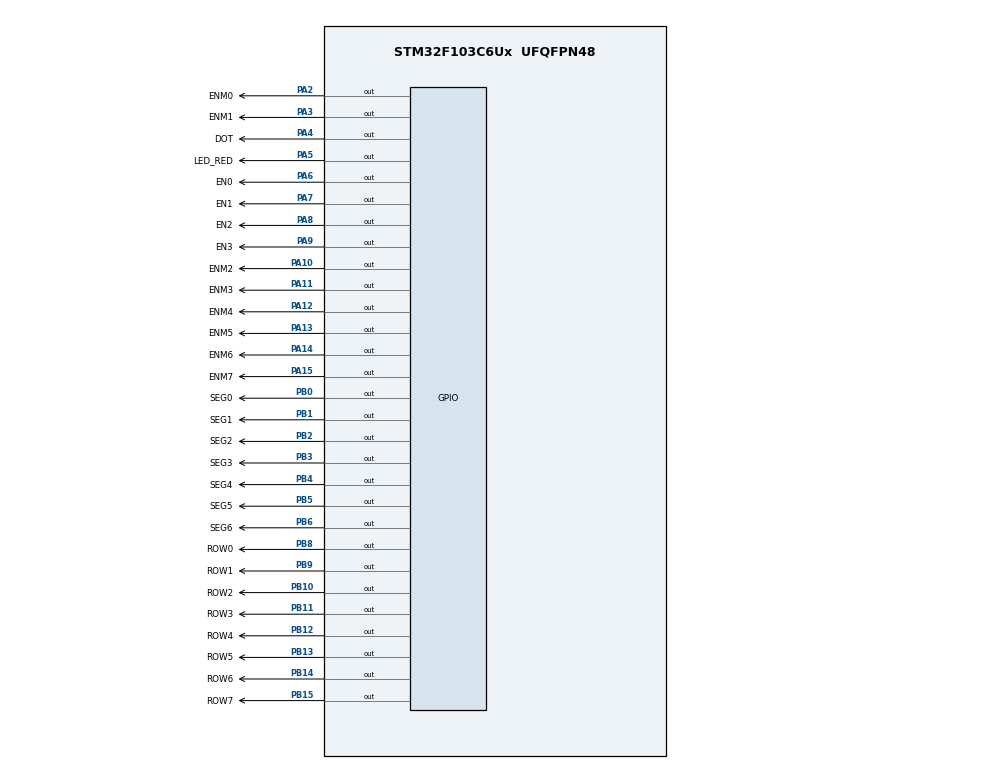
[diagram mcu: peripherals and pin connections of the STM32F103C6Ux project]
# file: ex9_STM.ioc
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Mcu.Family=STM32F1
Mcu.Name=STM32F103C6Ux
Mcu.Package=UFQFPN48
NVIC.PriorityGroup=NVIC_PRIORITYGROUP_4
NVIC.TIM2_IRQn=true\:0\:0\:false\:false\:true\:true\:true
PA10.GPIO_Label=ENM2
PA10.Signal=GPIO_Output
PA11.GPIO_Label=ENM3
PA11.Signal=GPIO_Output
PA12.GPIO_Label=ENM4
PA12.Signal=GPIO_Output
PA13.GPIO_Label=ENM5
PA13.Signal=GPIO_Output
PA14.GPIO_Label=ENM6
PA14.Signal=GPIO_Output
PA15.GPIO_Label=ENM7
PA15.Signal=GPIO_Output
PA2.GPIO_Label=ENM0
PA2.Signal=GPIO_Output
PA3.GPIO_Label=ENM1
PA3.Signal=GPIO_Output
PA4.GPIO_Label=DOT
PA4.Signal=GPIO_Output
PA5.GPIO_Label=LED_RED
PA5.Signal=GPIO_Output
PA6.GPIO_Label=EN0
PA6.Signal=GPIO_Output
PA7.GPIO_Label=EN1
PA7.Signal=GPIO_Output
PA8.GPIO_Label=EN2
PA8.Signal=GPIO_Output
PA9.GPIO_Label=EN3
PA9.Signal=GPIO_Output
PB0.GPIO_Label=SEG0
PB0.Signal=GPIO_Output
PB1.GPIO_Label=SEG1
PB1.Signal=GPIO_Output
PB10.GPIO_Label=ROW2
PB10.Signal=GPIO_Output
PB11.GPIO_Label=ROW3
PB11.Signal=GPIO_Output
PB12.GPIO_Label=ROW4
PB12.Signal=GPIO_Output
PB13.GPIO_Label=ROW5
PB13.Signal=GPIO_Output
PB14.GPIO_Label=ROW6
PB14.Signal=GPIO_Output
PB15.GPIO_Label=ROW7
PB15.Signal=GPIO_Output
PB2.GPIO_Label=SEG2
PB2.Signal=GPIO_Output
PB3.GPIO_Label=SEG3
PB3.Signal=GPIO_Output
PB4.GPIO_Label=SEG4
PB4.Signal=GPIO_Output
PB5.GPIO_Label=SEG5
PB5.Signal=GPIO_Output
PB6.GPIO_Label=SEG6
PB6.Signal=GPIO_Output
PB8.GPIO_Label=ROW0
PB8.Signal=GPIO_Output
PB9.GPIO_Label=ROW1
PB9.Signal=GPIO_Output
ProjectManager.HeapSize=0x200
ProjectManager.StackSize=0x400
ProjectManager.TargetToolchain=STM32CubeIDE
RCC.APB1Freq_Value=8000000
RCC.APB2Freq_Value=8000000
TIM2.Period=9
TIM2.Prescaler=7999
VP_SYS_VS_ND.Mode=No_Debug
VP_TIM2_VS_ClockSourceINT.Mode=Internal
board=custom

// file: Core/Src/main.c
/* USER CODE BEGIN Header */
/**
  ******************************************************************************
  * @file           : main.c
  * @brief          : Main program body
  ******************************************************************************
  * @attention
  *
  * <h2><center>&copy; Copyright (c) 2022 STMicroelectronics.
  * All rights reserved.</center></h2>
  *
  * This software component is licensed by ST under BSD 3-Clause license,
  * the "License"; You may not use this file except in compliance with the
  * License. You may obtain a copy of the License at:
  *                        opensource.org/licenses/BSD-3-Clause
  *
  ******************************************************************************
  */
/* USER CODE END Header */
#include "main.h"

TIM_HandleTypeDef htim2;

void SystemClock_Config(void);
static void MX_GPIO_Init(void);
static void MX_TIM2_Init(void);

/* USER CODE BEGIN 0 */
uint8_t segmentNumber[10] = {
        0x3f,  // 0
        0x06,  // 1
        0x5b,  // 2
        0x4f,  // 3
        0x66,  // 4
        0x6d,  // 5
        0x7d,  // 6
        0x07,  // 7
        0x7f,  // 8
        0x67   // 9
};

void display7SEG(uint8_t number){
	HAL_GPIO_WritePin(SEG0_GPIO_Port, SEG0_Pin, ((number>>0)&0x01)^0x01);
	HAL_GPIO_WritePin(SEG1_GPIO_Port, SEG1_Pin, ((number>>1)&0x01)^0x01);
	HAL_GPIO_WritePin(SEG2_GPIO_Port, SEG2_Pin, ((number>>2)&0x01)^0x01);
	HAL_GPIO_WritePin(SEG3_GPIO_Port, SEG3_Pin, ((number>>3)&0x01)^0x01);
	HAL_GPIO_WritePin(SEG4_GPIO_Port, SEG4_Pin, ((number>>4)&0x01)^0x01);
	HAL_GPIO_WritePin(SEG5_GPIO_Port, SEG5_Pin, ((number>>5)&0x01)^0x01);
	HAL_GPIO_WritePin(SEG6_GPIO_Port, SEG6_Pin, ((number>>6)&0x01)^0x01);
}

void displayCharacterA(uint8_t number){
	HAL_GPIO_WritePin(ROW0_GPIO_Port, ROW0_Pin, ((number>>0)&0x01)^0x01);
	HAL_GPIO_WritePin(ROW1_GPIO_Port, ROW1_Pin, ((number>>1)&0x01)^0x01);
	HAL_GPIO_WritePin(ROW2_GPIO_Port, ROW2_Pin, ((number>>2)&0x01)^0x01);
	HAL_GPIO_WritePin(ROW3_GPIO_Port, ROW3_Pin, ((number>>3)&0x01)^0x01);
	HAL_GPIO_WritePin(ROW4_GPIO_Port, ROW4_Pin, ((number>>4)&0x01)^0x01);
	HAL_GPIO_WritePin(ROW5_GPIO_Port, ROW5_Pin, ((number>>5)&0x01)^0x01);
	HAL_GPIO_WritePin(ROW6_GPIO_Port, ROW6_Pin, ((number>>6)&0x01)^0x01);
	HAL_GPIO_WritePin(ROW7_GPIO_Port, ROW7_Pin, ((number>>7)&0x01)^0x01);
}
int led_buffer[4] = {1, 2, 3, 4};
const int MAX_LED = 4;
int index_led = 0;
void update7SEG(int index){
	switch (index){
		case 0:{
			HAL_GPIO_WritePin(GPIOA, EN1_Pin|EN2_Pin
								|EN3_Pin, GPIO_PIN_SET);
			HAL_GPIO_WritePin(EN0_GPIO_Port, EN0_Pin, RESET);
			display7SEG(segmentNumber[led_buffer[0]]);
//			index = 1;
			break;
		}
		case 1:{
			HAL_GPIO_WritePin(GPIOA, EN0_Pin|EN2_Pin
								|EN3_Pin, GPIO_PIN_SET);
			HAL_GPIO_WritePin(EN1_GPIO_Port, EN1_Pin, RESET);
			display7SEG(segmentNumber[led_buffer[1]]);
//			index = 2;
			break;
		}
		case 2:{
			HAL_GPIO_WritePin(GPIOA, EN0_Pin|EN1_Pin
								|EN3_Pin, GPIO_PIN_SET);
			HAL_GPIO_WritePin(EN2_GPIO_Port, EN2_Pin, RESET);
			display7SEG(segmentNumber[led_buffer[2]]);
//			index = 3;
			break;
		}
		case 3:{
			HAL_GPIO_WritePin(GPIOA, EN0_Pin|EN2_Pin
								|EN1_Pin, GPIO_PIN_SET);
			HAL_GPIO_WritePin(EN3_GPIO_Port, EN3_Pin, RESET);
			display7SEG(segmentNumber[led_buffer[3]]);
			index_led = 0;
			break;
		}
	}
}
void updateClockBuffer(int hour, int minute){
	led_buffer[0] = hour/10;
	led_buffer[1] = hour%10;
	led_buffer[2] = minute/10;
	led_buffer[3] = minute%10;
}

int timer1_counter = 0;
int timer1_flag = 0;
int TIMER_CYCLE1 = 10;
void setTimer1 (int duration) {
	timer1_counter = duration/TIMER_CYCLE1 ;
	timer1_flag = 0;
}

int timer2_counter = 0;
int timer2_flag = 0;
int TIMER_CYCLE2 = 50;
void setTimer2 (int duration) {
	timer2_counter = duration/TIMER_CYCLE2 ;
	timer2_flag = 0;
}
void timer_run () {
	if( timer1_counter > 0) {
		timer1_counter--;
	}
	if( timer1_counter == 0) timer1_flag = 1;

	if( timer2_counter > 0) {
		timer2_counter--;
	}
	if( timer2_counter == 0) timer2_flag = 1;

}
const int MAX_LED_MATRIX = 8;
int index_led_matrix = 0;
uint8_t matrix_buffer[8] = {0x00 , 0xFC , 0xFE , 0x33 , 0x33 , 0xFE , 0xFC , 0x00};
void updateLEDMatrix ( int index ) {
	switch (index){
		case 0:
			HAL_GPIO_WritePin(GPIOA, ENM1_Pin|ENM2_Pin|ENM3_Pin|ENM4_Pin|ENM5_Pin|ENM6_Pin|ENM7_Pin, GPIO_PIN_SET);
			HAL_GPIO_WritePin(ENM0_GPIO_Port, ENM0_Pin, RESET);
//--------------------------------------------------------------
//			HAL_GPIO_WritePin(GPIOB, ROW1_Pin|ROW2_Pin|ROW3_Pin|ROW4_Pin|ROW5_Pin|ROW6_Pin|ROW7_Pin, GPIO_PIN_SET);
//			HAL_GPIO_WritePin(ROW0_GPIO_Port, ROW0_Pin, RESET);
			displayCharacterA(matrix_buffer[0]);
			break;
		case 1:
			HAL_GPIO_WritePin(GPIOA, ENM0_Pin|ENM2_Pin|ENM3_Pin|ENM4_Pin|ENM5_Pin|ENM6_Pin|ENM7_Pin, GPIO_PIN_SET);
			HAL_GPIO_WritePin(ENM1_GPIO_Port, ENM1_Pin, RESET);
//--------------------------------------------------------------
//			HAL_GPIO_WritePin(GPIOB, ROW0_Pin|ROW2_Pin|ROW3_Pin|ROW4_Pin|ROW5_Pin|ROW6_Pin|ROW7_Pin, GPIO_PIN_SET);
//			HAL_GPIO_WritePin(ROW1_GPIO_Port, ROW1_Pin, RESET);
			displayCharacterA(matrix_buffer[1]);
			break;
		case 2:
			HAL_GPIO_WritePin(GPIOA, ENM1_Pin|ENM0_Pin|ENM3_Pin|ENM4_Pin|ENM5_Pin|ENM6_Pin|ENM7_Pin, GPIO_PIN_SET);
			HAL_GPIO_WritePin(ENM2_GPIO_Port, ENM2_Pin, RESET);
//--------------------------------------------------------------
//			HAL_GPIO_WritePin(GPIOB, ROW2_Pin|ROW3_Pin|ROW4_Pin|ROW5_Pin|ROW6_Pin|ROW7_Pin, GPIO_PIN_SET);
//			HAL_GPIO_WritePin(ROW0_GPIO_Port, ROW0_Pin, RESET);
//			HAL_GPIO_WritePin(ROW1_GPIO_Port, ROW1_Pin, RESET);
			displayCharacterA(matrix_buffer[2]);
			break;
		case 3:
			HAL_GPIO_WritePin(GPIOA, ENM1_Pin|ENM2_Pin|ENM0_Pin|ENM4_Pin|ENM5_Pin|ENM6_Pin|ENM7_Pin, GPIO_PIN_SET);
			HAL_GPIO_WritePin(ENM3_GPIO_Port, ENM3_Pin, RESET);
//--------------------------------------------------------------
//			HAL_GPIO_WritePin(GPIOB, ROW0_Pin|ROW1_Pin|ROW3_Pin|ROW4_Pin|ROW5_Pin|ROW6_Pin|ROW7_Pin, GPIO_PIN_SET);
//			HAL_GPIO_WritePin(ROW2_GPIO_Port, ROW2_Pin, RESET);
			displayCharacterA(matrix_buffer[3]);
			break;

		case 4:
			HAL_GPIO_WritePin(GPIOA, ENM1_Pin|ENM2_Pin|ENM3_Pin|ENM0_Pin|ENM5_Pin|ENM6_Pin|ENM7_Pin, GPIO_PIN_SET);
			HAL_GPIO_WritePin(ENM4_GPIO_Port, ENM4_Pin, RESET);
//--------------------------------------------------------------
//			HAL_GPIO_WritePin(GPIOB, ROW1_Pin|ROW3_Pin|ROW4_Pin|ROW5_Pin|ROW6_Pin|ROW7_Pin, GPIO_PIN_SET);
//			HAL_GPIO_WritePin(ROW0_GPIO_Port, ROW0_Pin, RESET);
//			HAL_GPIO_WritePin(ROW2_GPIO_Port, ROW2_Pin, RESET);
			displayCharacterA(matrix_buffer[4]);
			break;
		case 5:
			HAL_GPIO_WritePin(GPIOA, ENM1_Pin|ENM2_Pin|ENM3_Pin|ENM4_Pin|ENM0_Pin|ENM6_Pin|ENM7_Pin, GPIO_PIN_SET);
			HAL_GPIO_WritePin(ENM5_GPIO_Port, ENM5_Pin, RESET);
//--------------------------------------------------------------
//			HAL_GPIO_WritePin(GPIOB, ROW0_Pin|ROW3_Pin|ROW4_Pin|ROW5_Pin|ROW6_Pin|ROW7_Pin, GPIO_PIN_SET);
//			HAL_GPIO_WritePin(ROW2_GPIO_Port, ROW2_Pin, RESET);
//			HAL_GPIO_WritePin(ROW1_GPIO_Port, ROW1_Pin, RESET);
			displayCharacterA(matrix_buffer[5]);
			break;
		case 6:
			HAL_GPIO_WritePin(GPIOA, ENM1_Pin|ENM2_Pin|ENM3_Pin|ENM4_Pin|ENM5_Pin|ENM0_Pin|ENM7_Pin, GPIO_PIN_SET);
			HAL_GPIO_WritePin(ENM6_GPIO_Port, ENM6_Pin, RESET);
//--------------------------------------------------------------
//			HAL_GPIO_WritePin(GPIOB, ROW3_Pin|ROW4_Pin|ROW5_Pin|ROW6_Pin|ROW7_Pin, GPIO_PIN_SET);
//			HAL_GPIO_WritePin(ROW0_GPIO_Port, ROW0_Pin, RESET);
//			HAL_GPIO_WritePin(ROW2_GPIO_Port, ROW2_Pin, RESET);
//			HAL_GPIO_WritePin(ROW1_GPIO_Port, ROW1_Pin, RESET);
			displayCharacterA(matrix_buffer[6]);
			break;
		case 7:
			HAL_GPIO_WritePin(GPIOA, ENM1_Pin|ENM2_Pin|ENM3_Pin|ENM4_Pin|ENM5_Pin|ENM6_Pin|ENM0_Pin, GPIO_PIN_SET);
			HAL_GPIO_WritePin(ENM7_GPIO_Port, ENM7_Pin, RESET);
//--------------------------------------------------------------
//			HAL_GPIO_WritePin(GPIOB, ROW1_Pin|ROW2_Pin|ROW0_Pin|ROW4_Pin|ROW5_Pin|ROW6_Pin|ROW7_Pin, GPIO_PIN_SET);
//			HAL_GPIO_WritePin(ROW3_GPIO_Port, ROW3_Pin, RESET);
			displayCharacterA(matrix_buffer[7]);
			index_led_matrix = -1;
			break;
	}
}

/* USER CODE END 0 */

int main(void)
{

  /* MCU Configuration--------------------------------------------------------*/

  /* Reset of all peripherals, Initializes the Flash interface and the Systick. */
  HAL_Init();

  /* Configure the system clock */
  SystemClock_Config();

  /* Initialize all configured peripherals */
  MX_GPIO_Init();
  MX_TIM2_Init();
  /* USER CODE BEGIN 2 */
  HAL_TIM_Base_Start_IT(&htim2);
  /* USER CODE END 2 */

  /* Infinite loop */
  /* USER CODE BEGIN WHILE */
  int hour = 15, minute = 8, second = 50;
  setTimer1(1000);
  setTimer2(1000);
  while (1)
  {
	  updateClockBuffer(hour, minute);
	  if(timer2_flag == 1){
		  update7SEG(index_led++);
		  updateLEDMatrix(index_led_matrix);
		  index_led_matrix++;
		  setTimer2(1000);
	  }
	  if (timer1_flag == 1) {
		  HAL_GPIO_TogglePin(LED_RED_GPIO_Port, LED_RED_Pin);
		  second++;
		  if(second >= 60) {
			  second = 0;
			  minute++;
		  }
		  if(minute >= 60) {
			  minute = 0;
			  hour++;
		  }
		  if(hour>= 24) {
			  hour = 0;
		  }
		  HAL_GPIO_TogglePin(DOT_GPIO_Port, DOT_Pin);
		  setTimer1(1000);
	  }

    /* USER CODE END WHILE */

  }
}

void SystemClock_Config(void)
{
  RCC_OscInitTypeDef RCC_OscInitStruct = {0};
  RCC_ClkInitTypeDef RCC_ClkInitStruct = {0};

  /** Initializes the RCC Oscillators according to the specified parameters
  * in the RCC_OscInitTypeDef structure.
  */
  RCC_OscInitStruct.OscillatorType = RCC_OSCILLATORTYPE_HSI;
  RCC_OscInitStruct.HSIState = RCC_HSI_ON;
  RCC_OscInitStruct.HSICalibrationValue = RCC_HSICALIBRATION_DEFAULT;
  RCC_OscInitStruct.PLL.PLLState = RCC_PLL_NONE;
  if (HAL_RCC_OscConfig(&RCC_OscInitStruct) != HAL_OK)
  {
    Error_Handler();
  }
  /** Initializes the CPU, AHB and APB buses clocks
  */
  RCC_ClkInitStruct.ClockType = RCC_CLOCKTYPE_HCLK|RCC_CLOCKTYPE_SYSCLK
                              |RCC_CLOCKTYPE_PCLK1|RCC_CLOCKTYPE_PCLK2;
  RCC_ClkInitStruct.SYSCLKSource = RCC_SYSCLKSOURCE_HSI;
  RCC_ClkInitStruct.AHBCLKDivider = RCC_SYSCLK_DIV1;
  RCC_ClkInitStruct.APB1CLKDivider = RCC_HCLK_DIV1;
  RCC_ClkInitStruct.APB2CLKDivider = RCC_HCLK_DIV1;

  if (HAL_RCC_ClockConfig(&RCC_ClkInitStruct, FLASH_LATENCY_0) != HAL_OK)
  {
    Error_Handler();
  }
}

static void MX_TIM2_Init(void)
{

  TIM_ClockConfigTypeDef sClockSourceConfig = {0};
  TIM_MasterConfigTypeDef sMasterConfig = {0};

  htim2.Instance = TIM2;
  htim2.Init.Prescaler = 7999;
  htim2.Init.CounterMode = TIM_COUNTERMODE_UP;
  htim2.Init.Period = 9;
  htim2.Init.ClockDivision = TIM_CLOCKDIVISION_DIV1;
  htim2.Init.AutoReloadPreload = TIM_AUTORELOAD_PRELOAD_DISABLE;
  if (HAL_TIM_Base_Init(&htim2) != HAL_OK)
  {
    Error_Handler();
  }
  sClockSourceConfig.ClockSource = TIM_CLOCKSOURCE_INTERNAL;
  if (HAL_TIM_ConfigClockSource(&htim2, &sClockSourceConfig) != HAL_OK)
  {
    Error_Handler();
  }
  sMasterConfig.MasterOutputTrigger = TIM_TRGO_RESET;
  sMasterConfig.MasterSlaveMode = TIM_MASTERSLAVEMODE_DISABLE;
  if (HAL_TIMEx_MasterConfigSynchronization(&htim2, &sMasterConfig) != HAL_OK)
  {
    Error_Handler();
  }

}

static void MX_GPIO_Init(void)
{
  GPIO_InitTypeDef GPIO_InitStruct = {0};

  /* GPIO Ports Clock Enable */
  __HAL_RCC_GPIOA_CLK_ENABLE();
  __HAL_RCC_GPIOB_CLK_ENABLE();

  /*Configure GPIO pin Output Level */
  HAL_GPIO_WritePin(GPIOA, ENM0_Pin|ENM1_Pin|DOT_Pin|LED_RED_Pin
                          |EN0_Pin|EN1_Pin|EN2_Pin|EN3_Pin
                          |ENM2_Pin|ENM3_Pin|ENM4_Pin|ENM5_Pin
                          |ENM6_Pin|ENM7_Pin, GPIO_PIN_RESET);

  /*Configure GPIO pin Output Level */
  HAL_GPIO_WritePin(GPIOB, SEG0_Pin|SEG1_Pin|SEG2_Pin|ROW2_Pin
                          |ROW3_Pin|ROW4_Pin|ROW5_Pin|ROW6_Pin
                          |ROW7_Pin|SEG3_Pin|SEG4_Pin|SEG5_Pin
                          |SEG6_Pin|ROW0_Pin|ROW1_Pin, GPIO_PIN_RESET);

  /*Configure GPIO pins : ENM0_Pin ENM1_Pin DOT_Pin LED_RED_Pin
                           EN0_Pin EN1_Pin EN2_Pin EN3_Pin
                           ENM2_Pin ENM3_Pin ENM4_Pin ENM5_Pin
                           ENM6_Pin ENM7_Pin */
  GPIO_InitStruct.Pin = ENM0_Pin|ENM1_Pin|DOT_Pin|LED_RED_Pin
                          |EN0_Pin|EN1_Pin|EN2_Pin|EN3_Pin
                          |ENM2_Pin|ENM3_Pin|ENM4_Pin|ENM5_Pin
                          |ENM6_Pin|ENM7_Pin;
  GPIO_InitStruct.Mode = GPIO_MODE_OUTPUT_PP;
  GPIO_InitStruct.Pull = GPIO_NOPULL;
  GPIO_InitStruct.Speed = GPIO_SPEED_FREQ_LOW;
  HAL_GPIO_Init(GPIOA, &GPIO_InitStruct);

  /*Configure GPIO pins : SEG0_Pin SEG1_Pin SEG2_Pin ROW2_Pin
                           ROW3_Pin ROW4_Pin ROW5_Pin ROW6_Pin
                           ROW7_Pin SEG3_Pin SEG4_Pin SEG5_Pin
                           SEG6_Pin ROW0_Pin ROW1_Pin */
  GPIO_InitStruct.Pin = SEG0_Pin|SEG1_Pin|SEG2_Pin|ROW2_Pin
                          |ROW3_Pin|ROW4_Pin|ROW5_Pin|ROW6_Pin
                          |ROW7_Pin|SEG3_Pin|SEG4_Pin|SEG5_Pin
                          |SEG6_Pin|ROW0_Pin|ROW1_Pin;
  GPIO_InitStruct.Mode = GPIO_MODE_OUTPUT_PP;
  GPIO_InitStruct.Pull = GPIO_NOPULL;
  GPIO_InitStruct.Speed = GPIO_SPEED_FREQ_LOW;
  HAL_GPIO_Init(GPIOB, &GPIO_InitStruct);

}

/* USER CODE BEGIN 4 */
void HAL_TIM_PeriodElapsedCallback ( TIM_HandleTypeDef * htim ){
	timer_run();
}
/* USER CODE END 4 */

void Error_Handler(void)
{
  __disable_irq();
  while (1)
  {
  }
}

/************************ (C) COPYRIGHT STMicroelectronics *****END OF FILE****/
